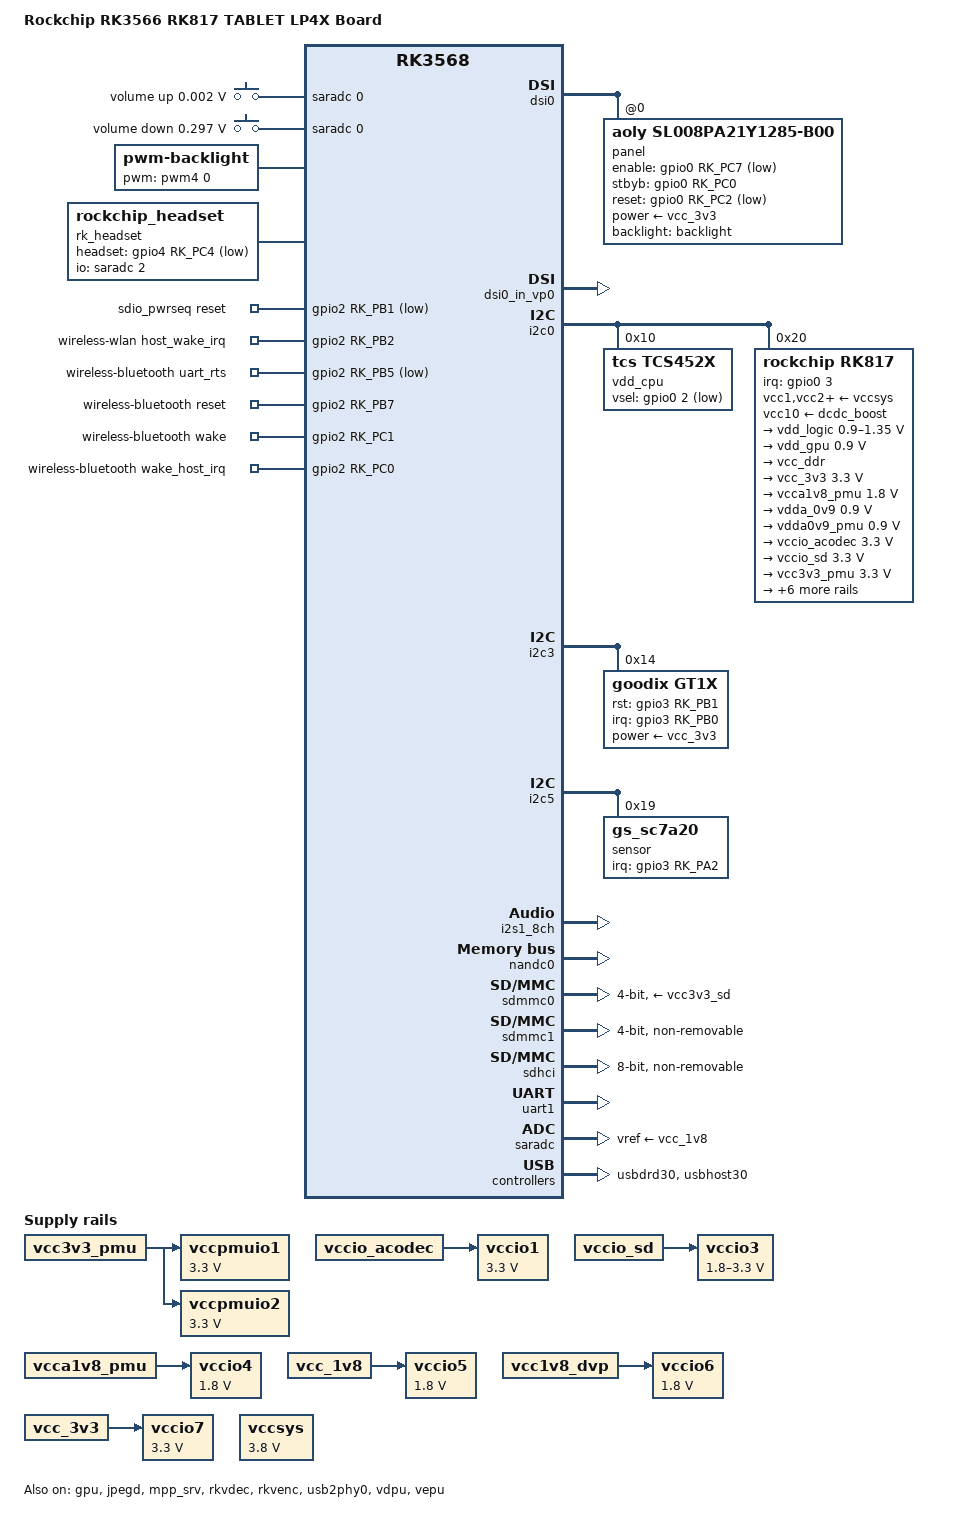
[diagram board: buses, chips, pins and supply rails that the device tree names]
// SPDX-License-Identifier: (GPL-2.0+ OR MIT)
/*
 * Copyright (c) 2020 Rockchip Electronics Co., Ltd.
 *
 */

/dts-v1/;

#include <dt-bindings/gpio/gpio.h>
#include <dt-bindings/pinctrl/rockchip.h>
#include <dt-bindings/input/rk-input.h>
#include <dt-bindings/sensor-dev.h>
#include <dt-bindings/display/drm_mipi_dsi.h>
#include "rk3568.dtsi"
#include "rk3568-android.dtsi"

/ {
	model = "Rockchip RK3566 RK817 TABLET LP4X Board";
	compatible = "rockchip,rk3566-rk817-tablet", "rockchip,rk3568";

	adc_keys: adc-keys {
		compatible = "adc-keys";
		io-channels = <&saradc 0>;
		io-channel-names = "buttons";
		keyup-threshold-microvolt = <1800000>;
		poll-interval = <100>;

		vol-up-key {
			label = "volume up";
			linux,code = <KEY_VOLUMEUP>;
			press-threshold-microvolt = <1750>;
		};

		vol-down-key {
			label = "volume down";
			linux,code = <KEY_VOLUMEDOWN>;
			press-threshold-microvolt = <297500>;
		};
	};

	backlight: backlight {
		compatible = "pwm-backlight";
		pwms = <&pwm4 0 25000 0>;
		brightness-levels = <
			  0  20  20  21  21  22  22  23
			 23  24  24  25  25  26  26  27
			 27  28  28  29  29  30  30  31
			 31  32  32  33  33  34  34  35
			 35  36  36  37  37  38  38  39
			 40  41  42  43  44  45  46  47
			 48  49  50  51  52  53  54  55
			 56  57  58  59  60  61  62  63
			 64  65  66  67  68  69  70  71
			 72  73  74  75  76  77  78  79
			 80  81  82  83  84  85  86  87
			 88  89  90  91  92  93  94  95
			 96  97  98  99 100 101 102 103
			104 105 106 107 108 109 110 111
			112 113 114 115 116 117 118 119
			120 121 122 123 124 125 126 127
			128 129 130 131 132 133 134 135
			136 137 138 139 140 141 142 143
			144 145 146 147 148 149 150 151
			152 153 154 155 156 157 158 159
			160 161 162 163 164 165 166 167
			168 169 170 171 172 173 174 175
			176 177 178 179 180 181 182 183
			184 185 186 187 188 189 190 191
			192 193 194 195 196 197 198 199
			200 201 202 203 204 205 206 207
			208 209 210 211 212 213 214 215
			216 217 218 219 220 221 222 223
			224 225 226 227 228 229 230 231
			232 233 234 235 236 237 238 239
			240 241 242 243 244 245 246 247
			248 249 250 251 252 253 254 255
		>;
		default-brightness-level = <200>;
	};

	/*
	 * Configure for io-domain node according to Power Sequence/IO Domain Map
	 * For example, RK3568 EVB V10
	 * -vccpmuio1,vccpmuio2
	 * -vccio1,vccio2,vccio3,vccio4,vccio5,vccio6,vccio7
	 */
	vccpmuio1: vcc-pmuio1 {
		compatible = "regulator-fixed";
		regulator-name = "vccpmuio1";
		regulator-always-on;
		regulator-boot-on;
		regulator-min-microvolt = <3300000>;
		regulator-max-microvolt = <3300000>;
		vin-supply = <&vcc3v3_pmu>;
	};

	vccpmuio2: vcc-pmuio2 {
		compatible = "regulator-fixed";
		regulator-name = "vccpmuio2";
		regulator-always-on;
		regulator-boot-on;
		regulator-min-microvolt = <3300000>;
		regulator-max-microvolt = <3300000>;
		vin-supply = <&vcc3v3_pmu>;
	};

	vccio1: vccio1 {
		compatible = "regulator-fixed";
		regulator-name = "vccio1";
		regulator-always-on;
		regulator-boot-on;
		regulator-min-microvolt = <3300000>;
		regulator-max-microvolt = <3300000>;
		vin-supply = <&vccio_acodec>;
	};

	/* vccio2 reserved, selected by pin "FLASH_VOL_SEL" */

	vccio3: vccio3 {
		compatible = "regulator-fixed";
		regulator-name = "vccio3";
		regulator-always-on;
		regulator-boot-on;
		regulator-min-microvolt = <1800000>;
		regulator-max-microvolt = <3300000>;
		vin-supply = <&vccio_sd>;
	};

	vccio4: vccio4 {
		compatible = "regulator-fixed";
		regulator-name = "vccio4";
		regulator-always-on;
		regulator-boot-on;
		regulator-min-microvolt = <1800000>;
		regulator-max-microvolt = <1800000>;
		vin-supply = <&vcca1v8_pmu>;
	};

	vccio5: vccio5 {
		compatible = "regulator-fixed";
		regulator-name = "vccio5";
		regulator-always-on;
		regulator-boot-on;
		regulator-min-microvolt = <1800000>;
		regulator-max-microvolt = <1800000>;
		vin-supply = <&vcc_1v8>;
	};

	vccio6: vccio6 {
		compatible = "regulator-fixed";
		regulator-name = "vccio6";
		regulator-always-on;
		regulator-boot-on;
		regulator-min-microvolt = <1800000>;
		regulator-max-microvolt = <1800000>;
		vin-supply = <&vcc1v8_dvp>;
	};

	vccio7: vccio7 {
		compatible = "regulator-fixed";
		regulator-name = "vccio7";
		regulator-always-on;
		regulator-boot-on;
		regulator-min-microvolt = <3300000>;
		regulator-max-microvolt = <3300000>;
		vin-supply = <&vcc_3v3>;
	};

	vccsys: vccsys {
		compatible = "regulator-fixed";
		regulator-name = "vcc3v8_sys";
		regulator-always-on;
		regulator-boot-on;
		regulator-min-microvolt = <3800000>;
		regulator-max-microvolt = <3800000>;
	};

	rk817-sound {
		compatible = "simple-audio-card";
		simple-audio-card,format = "i2s";
		simple-audio-card,name = "rockchip,rk817-codec";
		simple-audio-card,mclk-fs = <256>;

		simple-audio-card,cpu {
			sound-dai = <&i2s1_8ch>;
		};
		simple-audio-card,codec {
			sound-dai = <&rk817_codec>;
		};
	};

	rk_headset: rk-headset {
		compatible = "rockchip_headset";
		headset_gpio = <&gpio4 RK_PC4 GPIO_ACTIVE_LOW>;
		pinctrl-names = "default";
		pinctrl-0 = <&hp_det>;
		io-channels = <&saradc 2>;
	};

	sdio_pwrseq: sdio-pwrseq {
		compatible = "mmc-pwrseq-simple";
		clocks = <&rk817 1>;
		clock-names = "ext_clock";
		pinctrl-names = "default";
		pinctrl-0 = <&wifi_enable_h>;

		/*
		 * On the module itself this is one of these (depending
		 * on the actual card populated):
		 * - SDIO_RESET_L_WL_REG_ON
		 * - PDN (power down when low)
		 */
		reset-gpios = <&gpio2 RK_PB1 GPIO_ACTIVE_LOW>;
	};

	wireless-wlan {
		compatible = "wlan-platdata";
		rockchip,grf = <&grf>;
		wifi_chip_type = "ap6255";
		pinctrl-names = "default";
		pinctrl-0 = <&wifi_wake_h>;
		WIFI,host_wake_irq = <&gpio2 RK_PB2 GPIO_ACTIVE_HIGH>;
		status = "okay";
	};

	wireless-bluetooth {
		compatible = "bluetooth-platdata";
		clocks = <&rk817 1>;
		clock-names = "ext_clock";
		//wifi-bt-power-toggle;
		uart_rts_gpios = <&gpio2 RK_PB5 GPIO_ACTIVE_LOW>;
		pinctrl-names = "default", "rts_gpio";
		pinctrl-0 = <&uart1rtsnm0>;
		pinctrl-1 = <&uart1_gpios>;
		BT,reset_gpio    = <&gpio2 RK_PB7 GPIO_ACTIVE_HIGH>;
		BT,wake_gpio     = <&gpio2 RK_PC1 GPIO_ACTIVE_HIGH>;
		BT,wake_host_irq = <&gpio2 RK_PC0 GPIO_ACTIVE_HIGH>;
		status = "okay";
	};
};

&cpu0 {
	cpu-supply = <&vdd_cpu>;
};

&dsi0 {
	status = "okay";
	rockchip,lane-rate = <1050>;
	panel@0 {
		compatible = "aoly,sl008pa21y1285-b00", "simple-panel-dsi";
		reg = <0>;

		backlight = <&backlight>;
		power-supply=<&vcc_3v3>;
		enable-gpios = <&gpio0 RK_PC7 GPIO_ACTIVE_LOW>;
		stbyb-gpios = <&gpio0 RK_PC0 GPIO_ACTIVE_HIGH>;
		reset-gpios = <&gpio0 RK_PC2 GPIO_ACTIVE_LOW>;
		prepare-delay-ms = <120>;
		reset-delay-ms = <20>;
		init-delay-ms = <20>;
		stbyb-delay-ms = <10>;
		enable-delay-ms = <10>;
		disable-delay-ms = <20>;
		unprepare-delay-ms = <20>;

		width-mm = <229>;
		height-mm = <143>;

		dsi,flags = <(MIPI_DSI_MODE_VIDEO | MIPI_DSI_MODE_VIDEO_BURST |
			      MIPI_DSI_MODE_LPM | MIPI_DSI_MODE_EOT_PACKET)>;
		dsi,format = <MIPI_DSI_FMT_RGB888>;
		dsi,lanes = <4>;

		panel-init-sequence = [

			23 00 02 B0 01
			23 00 02 C3 0F
			23 00 02 C4 00
			23 00 02 C5 00
			23 00 02 C6 00
			23 00 02 C7 00
			23 00 02 C8 0D
			23 00 02 C9 12
			23 00 02 CA 11
			23 00 02 CD 1D
			23 00 02 CE 1B
			23 00 02 CF 0B
			23 00 02 D0 09
			23 00 02 D1 07
			23 00 02 D2 05
			23 00 02 D3 01
			23 00 02 D7 10
			23 00 02 D8 00
			23 00 02 D9 00
			23 00 02 DA 00
			23 00 02 DB 00
			23 00 02 DC 0E
			23 00 02 DD 12
			23 00 02 DE 11
			23 00 02 E1 1E
			23 00 02 E2 1C
			23 00 02 E3 0C
			23 00 02 E4 0A
			23 00 02 E5 08
			23 00 02 E6 06
			23 00 02 E7 02
			23 00 02 B0 03
			23 00 02 BE 03
			23 00 02 CC 44
			23 00 02 C8 07
			23 00 02 C9 05
			23 00 02 CA 42
			23 00 02 CD 3E
			23 00 02 CF 60
			23 00 02 D2 04
			23 00 02 D3 04
			23 00 02 D4 01
			23 00 02 D5 00
			23 00 02 D6 03
			23 00 02 D7 04
			23 00 02 D9 01
			23 00 02 DB 01
			23 00 02 E4 F0
			23 00 02 E5 0A
			23 00 02 B0 00
			23 00 02 BA 8F// NEW ADD
			23 00 02 BD 63
			23 00 02 C2 08
			23 00 02 C4 10
			23 00 02 B0 02
			23 00 02 C0 00
			23 00 02 C1 0A
			23 00 02 C2 20
			23 00 02 C3 24
			23 00 02 C4 23
			23 00 02 C5 29
			23 00 02 C6 23
			23 00 02 C7 1C
			23 00 02 C8 19
			23 00 02 C9 17
			23 00 02 CA 17
			23 00 02 CB 18
			23 00 02 CC 1A
			23 00 02 CD 1E
			23 00 02 CE 20
			23 00 02 CF 23
			23 00 02 D0 07
			23 00 02 D1 00
			23 00 02 D2 00
			23 00 02 D3 0A
			23 00 02 D4 13
			23 00 02 D5 1C
			23 00 02 D6 1A
			23 00 02 D7 13
			23 00 02 D8 17
			23 00 02 D9 1C
			23 00 02 DA 19
			23 00 02 DB 17
			23 00 02 DC 17
			23 00 02 DD 18
			23 00 02 DE 1A
			23 00 02 DF 1E
			23 00 02 E0 20
			23 00 02 E1 23
			23 00 02 E2 07

			05 78 01 11
			05 32 01 29
		];

		panel-exit-sequence = [
			05 dc 01 28
			05 78 01 10
		];

		display-timings {
			native-mode = <&timing0>;

			timing0: timing0 {
				clock-frequency = <152000000>;
				hactive = <1200>;
				vactive = <1920>;

				hsync-len = <1>;//19
				hback-porch = <60>;//40
				hfront-porch = <80>;//123

				vsync-len = <1>;
				vback-porch = <25>;
				vfront-porch = <35>;

				hsync-active = <0>;
				vsync-active = <0>;
				de-active = <0>;
				pixelclk-active = <0>;
			};
		};
	};
};

&dsi0_in_vp0 {
	status = "okay";
};

&dsi0_in_vp1 {
	status = "disabled";
};

&gpu {
	mali-supply = <&vdd_gpu>;
	status = "okay";
};

&i2c0 {
	status = "okay";

	vdd_cpu: tcs4525@10 {
		compatible = "tcs,tcs452x";
		reg = <0x10>;
		regulator-compatible = "fan53555-reg";
		pinctrl-0 = <&soc_slppin_gpio>;
		vsel-gpios = <&gpio0 2 GPIO_ACTIVE_LOW>;
		regulator-name = "vdd_cpu";
		regulator-min-microvolt = <712500>;
		regulator-max-microvolt = <1390000>;
		regulator-ramp-delay = <2300>;
		fcs,suspend-voltage-selector = <1>;
		regulator-boot-on;
		regulator-always-on;
		regulator-state-mem {
			regulator-off-in-suspend;
		};
	};

	rk817: pmic@20 {
		compatible = "rockchip,rk817";
		reg = <0x20>;
		interrupt-parent = <&gpio0>;
		interrupts = <3 IRQ_TYPE_LEVEL_LOW>;

		pinctrl-names = "default", "pmic-sleep",
				"pmic-power-off";
		pinctrl-0 = <&pmic_int>;
		pinctrl-1 = <&soc_slppin_slp>, <&rk817_slppin_slp>;
		pinctrl-2 = <&soc_slppin_gpio>, <&rk817_slppin_pwrdn>;
		pinctrl-3 = <&soc_slppin_rst>, <&rk817_slppin_rst>;
		rockchip,system-power-controller;
		wakeup-source;
		#clock-cells = <1>;
		clock-output-names = "rk808-clkout1", "rk808-clkout2";
		//fb-inner-reg-idxs = <2>;
		/* 1: rst regs (default in codes), 0: rst the pmic */
		pmic-reset-func = <0>;

		vcc1-supply = <&vccsys>;
		vcc2-supply = <&vccsys>;
		vcc3-supply = <&vccsys>;
		vcc4-supply = <&vccsys>;
		vcc5-supply = <&vccsys>;
		vcc6-supply = <&vccsys>;
		vcc7-supply = <&vccsys>;
		vcc8-supply = <&vccsys>;
		vcc9-supply = <&vccsys>;
		vcc10-supply = <&dcdc_boost>;

		pwrkey {
			status = "okay";
		};

		pinctrl_rk8xx: pinctrl_rk8xx {
			gpio-controller;
			#gpio-cells = <2>;

			rk817_slppin_null: rk817_slppin_null {
				pins = "gpio_slp";
				function = "pin_fun0";
			};

			rk817_slppin_slp: rk817_slppin_slp {
				pins = "gpio_slp";
				function = "pin_fun1";
			};

			rk817_slppin_pwrdn: rk817_slppin_pwrdn {
				pins = "gpio_slp";
				function = "pin_fun2";
			};

			rk817_slppin_rst: rk817_slppin_rst {
				pins = "gpio_slp";
				function = "pin_fun3";
			};
		};

		regulators {
			vdd_logic: DCDC_REG1 {
				regulator-always-on;
				regulator-boot-on;
				regulator-min-microvolt = <900000>;
				regulator-max-microvolt = <1350000>;
				regulator-ramp-delay = <6001>;
				regulator-initial-mode = <0x2>;
				regulator-name = "vdd_logic";
				regulator-state-mem {
					regulator-on-in-suspend;
					regulator-suspend-microvolt = <900000>;
				};
			};

			vdd_gpu: DCDC_REG2 {
				regulator-always-on;
				regulator-boot-on;
				regulator-min-microvolt = <900000>;
				regulator-max-microvolt = <900000>;
				regulator-ramp-delay = <6001>;
				regulator-initial-mode = <0x2>;
				regulator-name = "vdd_gpu";
					regulator-state-mem {
					regulator-off-in-suspend;
				};
			};

			vcc_ddr: DCDC_REG3 {
				regulator-always-on;
				regulator-boot-on;
				regulator-initial-mode = <0x2>;
				regulator-name = "vcc_ddr";
				regulator-state-mem {
					regulator-on-in-suspend;
				};
			};

			vcc_3v3: DCDC_REG4 {
				regulator-min-microvolt = <3300000>;
				regulator-max-microvolt = <3300000>;
				regulator-initial-mode = <0x2>;
				regulator-name = "vcc_3v3";
				regulator-state-mem {
					regulator-off-in-suspend;
				};
			};

			vcca1v8_pmu: LDO_REG1 {
				regulator-always-on;
				regulator-boot-on;
				regulator-min-microvolt = <1800000>;
				regulator-max-microvolt = <1800000>;
				regulator-name = "vcca1v8_pmu";
				regulator-state-mem {
					regulator-on-in-suspend;
					regulator-suspend-microvolt = <1800000>;
				};
			};

			vdda_0v9: LDO_REG2 {
				regulator-always-on;
				regulator-boot-on;
				regulator-min-microvolt = <900000>;
				regulator-max-microvolt = <900000>;
				regulator-name = "vdda_0v9";
				regulator-state-mem {
					regulator-off-in-suspend;
				};
			};

			vdda0v9_pmu: LDO_REG3 {
				regulator-always-on;
				regulator-boot-on;
				regulator-min-microvolt = <900000>;
				regulator-max-microvolt = <900000>;
				regulator-name = "vdda0v9_pmu";
				regulator-state-mem {
				regulator-on-in-suspend;
					regulator-suspend-microvolt = <1000000>;
				};
			};

			vccio_acodec: LDO_REG4 {
				regulator-min-microvolt = <3300000>;
				regulator-max-microvolt = <3300000>;
				regulator-name = "vccio_acodec";
				regulator-state-mem {
					regulator-off-in-suspend;
				};
			};

			vccio_sd: LDO_REG5 {
				regulator-always-on;
				regulator-boot-on;
				regulator-min-microvolt = <3300000>;
				regulator-max-microvolt = <3300000>;
				regulator-name = "vccio_sd";
				regulator-state-mem {
					regulator-on-in-suspend;
					regulator-suspend-microvolt = <3300000>;
				};
			};

			vcc3v3_pmu: LDO_REG6 {
				regulator-always-on;
				regulator-boot-on;
				regulator-min-microvolt = <3300000>;
				regulator-max-microvolt = <3300000>;
				regulator-name = "vcc3v3_pmu";
				regulator-state-mem {
					regulator-on-in-suspend;
					regulator-suspend-microvolt = <3300000>;
				};
			};

			vcc_1v8: LDO_REG7 {
				regulator-always-on;
				regulator-boot-on;
				regulator-min-microvolt = <1800000>;
				regulator-max-microvolt = <1800000>;
				regulator-name = "vcc_1v8";
					regulator-state-mem {
					regulator-off-in-suspend;
				};
			};

			vcc1v8_dvp: LDO_REG8 {
				regulator-always-on;
				regulator-boot-on;
				regulator-min-microvolt = <1800000>;
				regulator-max-microvolt = <1800000>;
				regulator-name = "vcc1v8_dvp";
					regulator-state-mem {
					regulator-off-in-suspend;
				};
			};

			vcc2v8_dvp: LDO_REG9 {
				regulator-always-on;
				regulator-boot-on;
				regulator-min-microvolt = <2800000>;
				regulator-max-microvolt = <2800000>;
				regulator-name = "vcc2v8_dvp";
					regulator-state-mem {
					regulator-off-in-suspend;
				};
			};

			vcc3v3_sd: SWITCH_REG1 {
				regulator-boot-on;
				regulator-name = "vcc3v3_sd";
				regulator-state-mem {
					regulator-off-in-suspend;
				};
			};

			dcdc_boost: BOOST {
				regulator-always-on;
				regulator-boot-on;
				regulator-min-microvolt = <4700000>;
				regulator-max-microvolt = <5400000>;
				regulator-name = "boost";
			};

			otg_switch: OTG_SWITCH {
				regulator-name = "otg_switch";
			};
		};

		battery {
			compatible = "rk817,battery";
			ocv_table = <3500 3548 3592 3636 3687 3740 3780
				     3806 3827 3846 3864 3889 3929 3964
				     3993 4015 4030 4041 4056 4076 4148>;
			design_capacity = <4000>;
			design_qmax = <4200>;
			bat_res = <100>;
			sleep_enter_current = <150>;
			sleep_exit_current = <180>;
			sleep_filter_current = <100>;
			power_off_thresd = <3450>;
			zero_algorithm_vol = <3850>;
			max_soc_offset = <60>;
			monitor_sec = <5>;
			sample_res = <10>;
			virtual_power = <0>;
		};

		charger {
			compatible = "rk817,charger";
			min_input_voltage = <4500>;
			max_input_current = <1500>;
			max_chrg_current = <2000>;
			max_chrg_voltage = <4200>;
			chrg_term_mode = <0>;
			chrg_finish_cur = <300>;
			virtual_power = <0>;
			dc_det_adc = <0>;
			extcon = <&usb2phy0>;
		};

		rk817_codec: codec {
			#sound-dai-cells = <0>;
			compatible = "rockchip,rk817-codec";
			clocks = <&cru I2S1_MCLKOUT_TX>;
			clock-names = "mclk";
			pinctrl-names = "default";
			pinctrl-0 = <&i2s1mclkm0>;
			hp-volume = <20>;
			spk-volume = <3>;
			out-l2spk-r2hp;
			spk-ctl-gpios = <&gpio0 RK_PA6 GPIO_ACTIVE_HIGH>;
			status = "okay";
		};
	};
};

&i2c3 {
	status = "okay";

	gt1x: gt1x@14 {
		compatible = "goodix,gt1x";
		reg = <0x14>;
		pinctrl-names = "default";
		pinctrl-0 = <&gt1x_gpio>;
		power-supply = <&vcc_3v3>;
		goodix,rst-gpio = <&gpio3 RK_PB1 GPIO_ACTIVE_HIGH>;
		goodix,irq-gpio = <&gpio3 RK_PB0 IRQ_TYPE_LEVEL_LOW>;
	};
};

&i2c5 {
	status = "okay";

	sensor@19 {
		compatible = "gs_sc7a20";
		reg = <0x19>;
		type = <SENSOR_TYPE_ACCEL>;
		irq_enable = <0>;
		pinctrl-names = "default";
		pinctrl-0 = <&sensor_gpio>;
		irq-gpio = <&gpio3 RK_PA2 IRQ_TYPE_EDGE_RISING>;
		poll_delay_ms = <10>;
		layout = <1>;
	};
};

&i2s1_8ch {
	status = "okay";
	#sound-dai-cells = <0>;
};

&jpegd {
	status = "okay";
};

&jpegd_mmu {
	status = "okay";
};

&mpp_srv {
	status = "okay";
};

&nandc0 {
	status = "okay";
};

&pinctrl {

	gt1x {
		gt1x_gpio: gt1x-gpio {
			rockchip,pins = <3 RK_PB0 RK_FUNC_GPIO &pcfg_pull_down>,
					<3 RK_PB1 RK_FUNC_GPIO &pcfg_pull_down>;
		};
	};

	headphone {
		hp_det: hp-det {
			rockchip,pins = <4 RK_PC4 RK_FUNC_GPIO &pcfg_pull_down>;
		};
	};

	pmic {
		pmic_int: pmic_int {
			rockchip,pins =
				<0 RK_PA3 RK_FUNC_GPIO &pcfg_pull_up>;
		};

		soc_slppin_gpio: soc_slppin_gpio {
			rockchip,pins =
				<0 RK_PA2 RK_FUNC_GPIO &pcfg_output_low>;
		};

		soc_slppin_slp: soc_slppin_slp {
			rockchip,pins =
				<0 RK_PA2 RK_FUNC_1 &pcfg_pull_none>;
		};

		soc_slppin_rst: soc_slppin_rst {
			rockchip,pins =
				<0 RK_PA2 RK_FUNC_2 &pcfg_pull_none>;
		};
	};

	sensor {
		sensor_gpio:sensor-gpio {
			rockchip,pins = <3 RK_PA2 RK_FUNC_GPIO &pcfg_pull_none>;
		};
	};

	sdio-pwrseq {
		wifi_enable_h: wifi-enable-h {
			rockchip,pins = <2 RK_PB1 RK_FUNC_GPIO &pcfg_pull_none>;
		};
	};

	wifi-wake {
		wifi_wake_h: wifi-wake-h {
			rockchip,pins = <2 RK_PB2 RK_FUNC_GPIO &pcfg_pull_none>;
		};
	};

	wireless-bluetooth {
		uart1_gpios: uart1-gpios {
			rockchip,pins = <2 RK_PB5 RK_FUNC_GPIO &pcfg_pull_none>;
		};
	};
};

&rkvdec {
	status = "okay";
};

&rkvdec_mmu {
	status = "okay";
};

&rkvenc {
	status = "okay";
};

&rkvenc_mmu {
	status = "okay";
};

&sdmmc0 {
	clock-frequency = <150000000>;
	clock-freq-min-max = <100000 150000000>;
	supports-sd;
	bus-width = <4>;
	cap-mmc-highspeed;
	cap-sd-highspeed;
	disable-wp;
	num-slots = <1>;
	sd-uhs-sdr104;
	vmmc-supply = <&vcc3v3_sd>;
	vqmmc-supply = <&vccio_sd>;
	pinctrl-names = "default";
	pinctrl-0 = <&sdmmc0_bus4 &sdmmc0_clk &sdmmc0_cmd>;
	status = "okay";
};

&sdmmc1 {
	clock-frequency = <150000000>;
	clock-freq-min-max = <200000 150000000>;
	supports-sdio;
	bus-width = <4>;
	disable-wp;
	cap-sd-highspeed;
	cap-sdio-irq;
	keep-power-in-suspend;
	mmc-pwrseq = <&sdio_pwrseq>;
	non-removable;
	num-slots = <1>;
	pinctrl-names = "default";
	pinctrl-0 = <&sdmmc1_bus4 &sdmmc1_cmd &sdmmc1_clk>;
	sd-uhs-sdr104;
	status = "okay";
};

&sdhci {
	bus-width = <8>;
	mmc-hs400-1_8v;
	supports-emmc;
	non-removable;
	keep-power-in-suspend;
	mmc-hs400-enhanced-strobe;
	status = "okay";
};

&uart1 {
	status = "okay";
};

&saradc {
	status = "okay";
	vref-supply = <&vcc_1v8>;
};

&usb2phy0 {
	status = "okay";

	u2phy0_host: host-port {
		status = "okay";
	};

	u2phy0_otg: otg-port {
		status = "okay";
	};
};

&usbdrd30 {
	status = "okay";

	usbdrd_dwc3: dwc3@fcc00000 {
		dr_mode = "peripheral";
		maximum-speed = "high-speed";
		status = "okay";
	};
};

&usbhost30 {
	status = "okay";

	usbhost_dwc3: dwc3@fd000000 {
		status = "okay";
	};
};

&vdpu {
	status = "okay";
};

&vdpu_mmu {
	status = "okay";
};

&vepu {
	status = "okay";
};

&vepu_mmu {
	status = "okay";
};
